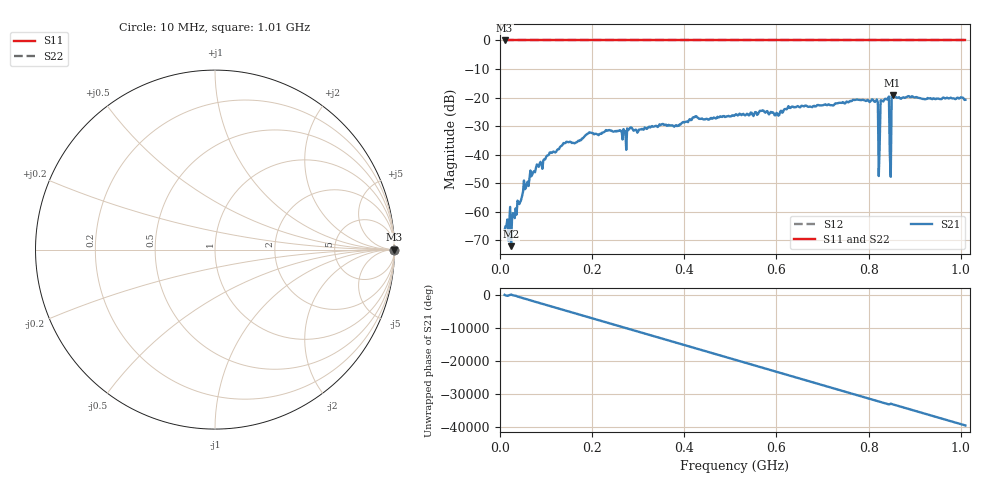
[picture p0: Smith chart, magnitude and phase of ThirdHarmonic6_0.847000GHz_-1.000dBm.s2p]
! 8/16/2025 4:03:38 AM
! C:\ANRITSUVNA\TEMP\TEMP.S2P
! CHANNEL.1
! TR.MEASUREMENT
! RAW.DATA
! RF.CORRECTION.OFF
! AVERAGING.OFF
! IF.BANDWIDTH: 5KHZ
! SWEEPTYPE:  FREQ.SWEEP(Linear)
! Reference Plane Port Info
! PORT:  PORT1  PORT2
! DISTANCE:  0  m  0  m
! TIME:  0  s  0  s
! PHASE.OFFSET:  0  deg.  0  deg.
! LOSS:  0  dB  0  dB
! REF.LOSS:  0  dB  0  dB
! REF.FREQ:  0  Hz  0  Hz
! Power Info
! POWER:  -20  dBm  -20  dBm
! EFF.POWER:  -20  dBm  -20  dBm
! SOURCE.ATTEN:  0  dB  0  dB
! TEST.ATTEN:  0  dB  0  dB
# GHZ S RI R 50.0
! FREQ.GHZ  S11RE  S11IM  S21RE  S21IM  S12RE  S12IM  S22RE  S22IM
!; PortSelection: Port_12
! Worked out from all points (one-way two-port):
!   501 points, 10 MHz to 1.01 GHz, reference 50 ohm
!   highest |S21| = -19.09 dB at 852 MHz (marker M1); lowest = -72.0 dB at 24 MHz (marker M2)
!   lowest |S11| = 0.0 dB at 10 MHz (marker M3)
!   |S11| at or under -10 dB: nowhere
!   |S22| runs from 0.0 to 0.0 dB; largest |S21 - S12| = 1.1
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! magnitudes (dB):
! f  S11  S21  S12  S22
! 10 MHz  0.0  -66.3  0.0  0.0
! 24 MHz  0.0  -72.0  0.0  0.0
! 28 MHz  0.0  -60.4  0.0  0.0
! 56 MHz  0.0  -51.7  0.0  0.0
! 84 MHz  0.0  -44.2  0.0  0.0
! 140 MHz  0.0  -36.0  0.0  0.0
! 178 MHz  0.0  -34.3  0.0  0.0
! 344 MHz  0.0  -30.0  0.0  0.0
! 510 MHz  0.0  -26.1  0.0  0.0
! 678 MHz  0.0  -23.3  0.0  0.0
! 814 MHz  0.0  -21.5  0.0  0.0
! 816 MHz  0.0  -21.1  0.0  0.0
! 820 MHz  0.0  -21.7  0.0  0.0
! 824 MHz  0.0  -36.5  0.0  0.0
! 826 MHz  0.0  -21.0  0.0  0.0
! 830 MHz  0.0  -21.2  0.0  0.0
! 840 MHz  0.0  -20.7  0.0  0.0
! 844 MHz  0.0  -19.6  0.0  0.0
! 850 MHz  0.0  -19.5  0.0  0.0
! 852 MHz  0.0  -19.1  0.0  0.0
! 854 MHz  0.0  -19.7  0.0  0.0
! 1.01 GHz  0.0  -20.8  0.0  0.0
